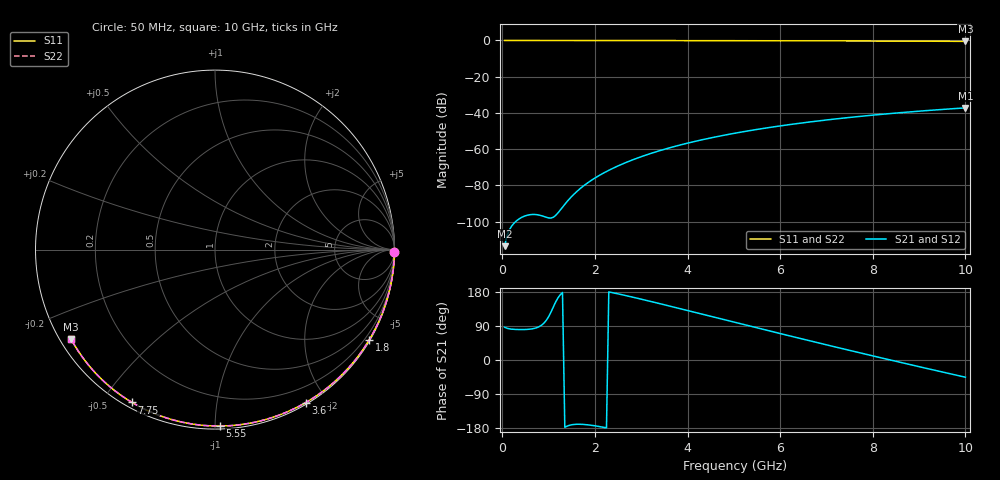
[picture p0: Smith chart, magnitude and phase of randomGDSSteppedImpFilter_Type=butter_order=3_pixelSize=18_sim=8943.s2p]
! freq	dB(S11)	phase(S11)	dB(S12)	phase(S12)
!  dB(S21)	phase(S21)	dB(S22)	phase(S22)
!S-par simulation data
#  GHz  S  DB  R 50
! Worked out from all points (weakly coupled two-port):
!   200 points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, 50 MHz to 10 GHz, reference 50 ohm
!   highest |S21| = -37.24 dB at 10 GHz (marker M1); lowest = -113.6 dB at 50 MHz (marker M2)
!   lowest |S11| = -0.5 dB at 10 GHz (marker M3), VSWR 34.80, Z = 1.55 - j14.3 ohm
!   |S11| at or under -10 dB: nowhere
!   |S22| runs from -0.5 to 0.0 dB; largest |S21 - S12| = 0
!   S11 on the Smith chart (normalised r, x): 50 MHz: open; 1.8 GHz: 0.03, -3.67; 3.6 GHz: 0.02, -1.75; 5.55 GHz: 0.02, -1.03; 7.75 GHz: 0.02, -0.59; 10 GHz: 0.03, -0.29
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0.05  -0.00 -0.9  -113.62 86.5  -113.62 86.5  -0.00 -0.9
0.45  -0.01 -7.7  -97.32 80.4  -97.32 80.4  -0.01 -7.7
0.9  -0.02 -15.4  -97.25 97.4  -97.25 97.4  -0.02 -15.4
1.3  -0.03 -22.1  -92.05 178.1  -92.05 178.1  -0.03 -22.1
1.75  -0.04 -29.6  -80.42 -170.0  -80.42 -170.0  -0.04 -29.6
1.8  -0.04 -30.5  -79.45 -170.5  -79.45 -170.5  -0.04 -30.4
1.95  -0.04 -32.9  -76.80 -172.7  -76.80 -172.7  -0.04 -32.9
2.1  -0.04 -35.4  -74.47 -175.6  -74.47 -175.6  -0.04 -35.4
2.3  -0.05 -38.7  -71.71 179.7  -71.71 179.7  -0.05 -38.7
2.5  -0.05 -41.9  -69.27 174.6  -69.27 174.6  -0.05 -41.9
2.9  -0.06 -48.3  -65.11 163.4  -65.11 163.4  -0.06 -48.3
3.4  -0.07 -56.2  -60.86 148.7  -60.86 148.7  -0.07 -56.2
3.6  -0.08 -59.4  -59.38 142.7  -59.38 142.7  -0.08 -59.4
4.3  -0.10 -70.1  -54.93 121.4  -54.93 121.4  -0.10 -70.1
5.05  -0.12 -81.2  -51.10 98.6  -51.10 98.6  -0.12 -81.2
5.55  -0.14 -88.4  -48.93 83.4  -48.93 83.4  -0.14 -88.4
6.1  -0.17 -96.1  -46.83 66.8  -46.83 66.8  -0.17 -96.1
6.7  -0.20 -104.4  -44.82 48.9  -44.82 48.9  -0.20 -104.4
7.75  -0.27 -118.5  -41.86 18.1  -41.86 18.1  -0.27 -118.5
8.35  -0.32 -126.4  -40.43 0.8  -40.43 0.8  -0.32 -126.4
9.2  -0.41 -137.6  -38.66 -23.2  -38.66 -23.2  -0.41 -137.6
10  -0.50 -148.1  -37.24 -45.5  -37.24 -45.5  -0.50 -148.1
